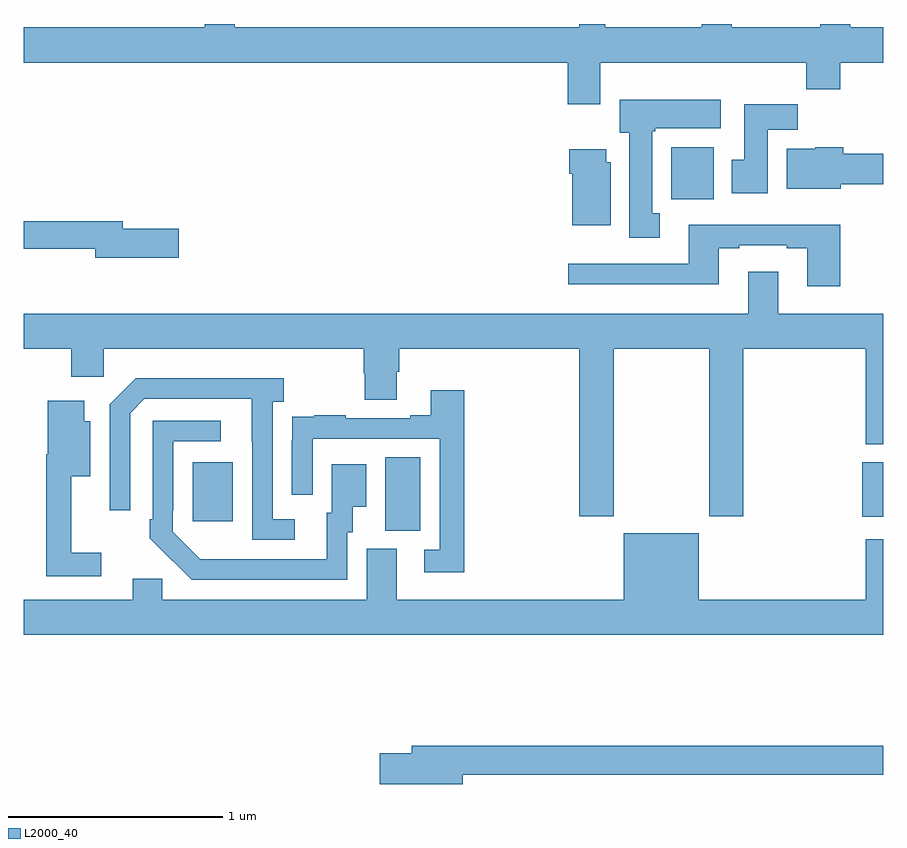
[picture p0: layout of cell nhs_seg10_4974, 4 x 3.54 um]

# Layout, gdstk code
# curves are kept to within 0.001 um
import gdstk
lib = gdstk.Library(unit=1e-6, precision=1e-09)
def R(c, l, rs):  # rectangles x0, y0, x1, y1
    for r in rs: c.add(gdstk.rectangle(r[:2], r[2:], *l))
def P(c, l, *ps):  # polygons
    for p in ps: c.add(gdstk.Polygon(p, *l))
L2000_40 = (2000, 40)

nhs_seg10_4974 = lib.new_cell('nhs_seg10_4974')
R(nhs_seg10_4974, L2000_40, [(400.682,1294.141,400.846,1294.484), (399.785,1294.185,399.973,1294.459), (402.902,1294.205,403,1294.459), (402.014,1295.684,402.211,1295.926)])
P(nhs_seg10_4974, L2000_40, [(402.643,1296.196),(402.8,1296.196),(402.8,1296.32),(403,1296.32),(403,1296.484),(402.847,1296.484),(402.847,1296.5),(402.707,1296.5),(402.707,1296.484),(402.295,1296.484),(402.295,1296.5),(402.156,1296.5),(402.156,1296.484),(401.707,1296.484),(401.707,1296.5),(401.586,1296.5),(401.586,1296.484),(399.982,1296.484),(399.982,1296.5),(399.843,1296.5),(399.843,1296.484),(399,1296.484),(399,1296.32),(401.531,1296.32),(401.531,1296.126),(401.683,1296.126),(401.683,1296.32),(402.643,1296.32)],
  [(401.959,1295.618),(401.926,1295.618),(401.926,1296.001),(401.94,1296.001),(401.94,1296.014),(402.244,1296.014),(402.244,1296.148),(401.774,1296.148),(401.774,1295.994),(401.819,1295.994),(401.819,1295.505),(401.959,1295.505)],
  [(402.463,1296.008),(402.602,1296.008),(402.602,1296.127),(402.353,1296.127),(402.353,1295.868),(402.296,1295.868),(402.296,1295.712),(402.463,1295.712)],
  [(402.802,1295.753),(403,1295.753),(403,1295.895),(402.815,1295.895),(402.815,1295.926),(402.684,1295.926),(402.684,1295.92),(402.551,1295.92),(402.551,1295.732),(402.802,1295.732)],
  [(401.731,1295.856),(401.71,1295.856),(401.71,1295.917),(401.54,1295.917),(401.54,1295.804),(401.552,1295.804),(401.552,1295.564),(401.731,1295.564)],
  [(399.721,1295.546),(399.46,1295.546),(399.46,1295.582),(399,1295.582),(399,1295.454),(399.332,1295.454),(399.332,1295.411),(399.721,1295.411)],
  [(402.8,1295.566),(402.095,1295.566),(402.095,1295.385),(401.535,1295.385),(401.535,1295.288),(402.235,1295.288),(402.235,1295.457),(402.331,1295.457),(402.331,1295.469),(402.551,1295.469),(402.551,1295.457),(402.647,1295.457),(402.647,1295.28),(402.8,1295.28)],
  [(401.745,1294.988),(402.19,1294.988),(402.19,1294.209),(402.35,1294.209),(402.35,1294.988),(402.918,1294.988),(402.918,1294.544),(403,1294.544),(403,1295.152),(402.511,1295.152),(402.511,1295.347),(402.371,1295.347),(402.371,1295.152),(399,1295.152),(399,1294.988),(399.221,1294.988),(399.221,1294.857),(399.372,1294.857),(399.372,1294.988),(400.583,1294.988),(400.583,1294.875),(400.588,1294.875),(400.588,1294.75),(400.735,1294.75),(400.735,1294.882),(400.748,1294.882),(400.748,1294.988),(401.585,1294.988),(401.585,1294.209),(401.745,1294.209)],
  [(400.261,1294.194),(400.158,1294.194),(400.158,1294.742),(400.21,1294.742),(400.21,1294.852),(399.52,1294.852),(399.399,1294.731),(399.399,1294.236),(399.495,1294.236),(399.495,1294.689),(399.561,1294.755),(400.061,1294.755),(400.062,1294.098),(400.261,1294.098)],
  [(401.051,1294.795),(400.895,1294.795),(400.895,1294.678),(400.799,1294.678),(400.799,1294.665),(400.499,1294.665),(400.499,1294.678),(400.351,1294.678),(400.351,1294.671),(400.249,1294.671),(400.249,1294.562),(400.248,1294.562),(400.248,1294.308),(400.344,1294.308),(400.344,1294.569),(400.935,1294.569),(400.935,1294.053),(400.863,1294.053),(400.863,1293.948),(401.051,1293.948)],
  [(399.361,1294.039),(399.221,1294.039),(399.221,1294.394),(399.31,1294.394),(399.31,1294.651),(399.28,1294.651),(399.28,1294.747),(399.11,1294.747),(399.11,1294.498),(399.103,1294.498),(399.103,1293.93),(399.361,1293.93)],
  [(400.506,1294.134),(400.531,1294.134),(400.531,1294.253),(400.594,1294.253),(400.594,1294.45),(400.433,1294.45),(400.433,1294.224),(400.409,1294.224),(400.409,1294.008),(399.822,1294.009),(399.693,1294.137),(399.693,1294.237),(399.696,1294.237),(399.696,1294.557),(399.916,1294.557),(399.916,1294.653),(399.6,1294.653),(399.6,1294.195),(399.585,1294.195),(399.585,1294.107),(399.782,1293.912),(400.506,1293.912)],
  [(403,1294.102),(402.918,1294.102),(402.918,1293.82),(402.142,1293.82),(402.142,1294.129),(401.792,1294.129),(401.792,1293.82),(400.735,1293.82),(400.735,1294.056),(400.595,1294.056),(400.595,1293.82),(399.645,1293.82),(399.645,1293.918),(399.506,1293.918),(399.506,1293.82),(399,1293.82),(399,1293.656),(403,1293.656)],
  [(401.044,1293.004),(403,1293.004),(403,1293.14),(400.805,1293.14),(400.805,1293.104),(400.656,1293.104),(400.656,1292.962),(401.044,1292.962)])

lib.write_gds('nhs_seg10_4974.gds')
